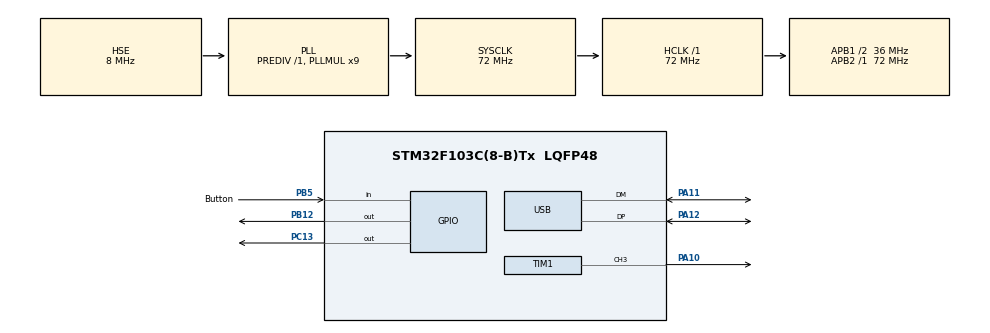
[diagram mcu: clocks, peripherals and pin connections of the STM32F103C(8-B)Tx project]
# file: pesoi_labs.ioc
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Mcu.Family=STM32F1
RCC.PLLSourceVirtual=RCC_PLLSOURCE_HSE
USB_DEVICE.CLASS_NAME_FS=CDC
PD1-OSC_OUT.Mode=HSE-External-Oscillator
USB_DEVICE.VirtualModeFS=Cdc_FS
PC13-TAMPER-RTC.Signal=GPIO_Output
RCC.USBPrescaler=RCC_USBCLKSOURCE_PLL_DIV1_5
PA11.Mode=Device
NVIC.TIM1_UP_IRQn=true\:0\:0\:false\:false\:true\:true\:true
PD0-OSC_IN.Signal=RCC_OSC_IN
RCC.APB1CLKDivider=RCC_HCLK_DIV2
VP_SYS_VS_ND.Mode=No_Debug
RCC.SYSCLKSource=RCC_SYSCLKSOURCE_PLLCLK
ProjectManager.StackSize=0x400
PD1-OSC_OUT.Signal=RCC_OSC_OUT
TIM1.Pulse-PWM\ Generation3\ CH3=1800/2
PA12.Signal=USB_DP
ProjectManager.TargetToolchain=STM32CubeIDE
RCC.HCLKFreq_Value=72000000
VP_USB_DEVICE_VS_USB_DEVICE_CDC_FS.Mode=CDC_FS
RCC.APB2TimFreq_Value=72000000
RCC.USBFreq_Value=48000000
RCC.AHBFreq_Value=72000000
PD0-OSC_IN.Mode=HSE-External-Oscillator
board=custom
RCC.PLLMUL=RCC_PLL_MUL9
RCC.APB2Freq_Value=72000000
NVIC.USB_LP_CAN1_RX0_IRQn=true\:0\:0\:false\:false\:true\:false\:true
Mcu.Name=STM32F103C(8-B)Tx
VP_TIM1_VS_ClockSourceINT.Mode=Internal
RCC.SYSCLKFreq_VALUE=72000000
Mcu.Package=LQFP48
PB5.Signal=GPIO_Input
PA12.Mode=Device
PB5.GPIO_PuPd=GPIO_PULLUP
TIM1.OCFastMode_PWM-PWM\ Generation3\ CH3=TIM_OCFAST_DISABLE
PA11.Signal=USB_DM
PA10.Signal=S_TIM1_CH3
ProjectManager.HeapSize=0x200
SH.S_TIM1_CH3.0=TIM1_CH3,PWM Generation3 CH3
NVIC.PriorityGroup=NVIC_PRIORITYGROUP_4
PB5.GPIO_Label=Button
RCC.APB1TimFreq_Value=72000000
TIM1.Period=1799
TIM1.Channel-PWM\ Generation3\ CH3=TIM_CHANNEL_3
RCC.APB1Freq_Value=36000000
USB_DEVICE.VirtualMode=Cdc
PB12.Signal=GPIO_Output

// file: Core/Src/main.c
/* USER CODE BEGIN Header */
/**
  ******************************************************************************
  * @file           : main.c
  * @brief          : Main program body
  ******************************************************************************
  * @attention
  *
  * <h2><center>&copy; Copyright (c) 2021 STMicroelectronics.
  * All rights reserved.</center></h2>
  *
  * This software component is licensed by ST under BSD 3-Clause license,
  * the "License"; You may not use this file except in compliance with the
  * License. You may obtain a copy of the License at:
  *                        opensource.org/licenses/BSD-3-Clause
  *
  ******************************************************************************
  */
/* USER CODE END Header */
#include "main.h"
#include "usb_device.h"

/* USER CODE BEGIN Includes */
#include "my.h"
#include <math.h>
//#include "usbd_cdc_if.h"
/* USER CODE END Includes */

TIM_HandleTypeDef htim1;

void SystemClock_Config(void);
static void MX_GPIO_Init(void);
static void MX_TIM1_Init(void);

/* USER CODE BEGIN 0 */
const int16_t sine_ampl=(1U<<(sizeof(sine_ampl)*8-1))-1;
const uint16_t arr_size=1024;
int16_t f_dots[1024];
/// It is the array of pins that make tones. The first pin is A10 and the second is A9
Tone_pin* tone_pins;
volatile bool playing=true;
volatile bool locked=false;
/* USER CODE END 0 */

int main(void)
{

  /* MCU Configuration--------------------------------------------------------*/

  /* Reset of all peripherals, Initializes the Flash interface and the Systick. */
  HAL_Init();

  /* Configure the system clock */
  SystemClock_Config();

  /* Initialize all configured peripherals */
  MX_GPIO_Init();
  MX_TIM1_Init();
  MX_USB_DEVICE_Init();
  /* USER CODE BEGIN 2 */
  HAL_GPIO_WritePin(GPIOC, GPIO_PIN_13, GPIO_PIN_SET);
  HAL_Delay(100);
  HAL_GPIO_WritePin(GPIOC, GPIO_PIN_13, GPIO_PIN_RESET);
  HAL_Delay(300);
  HAL_GPIO_WritePin(GPIOC, GPIO_PIN_13, GPIO_PIN_SET);

    for(int i=0; i< arr_size; ++i)
    {
        f_dots[i]=sine_ampl/2.0 - sine_ampl/2.0 * sin(i* 2*M_PI/arr_size);
    }

    /// This lines is ctor for tone_pins
    Tone_pin tone_pins_init[2]={{&(htim1.Instance->CCR3), f_dots, arr_size, sine_ampl, (arr_size*500<<8)/TONE_FREQ,0}, {&(htim1.Instance->CCR2),NULL, 0, 0, 0, 0}};
    tone_pins=tone_pins_init;

    HAL_TIM_PWM_Start(&htim1,TIM_CHANNEL_3);///start sound
    HAL_TIM_Base_Start_IT(&htim1);

  uint16_t notes_1[]={NOTE_C4, NOTE_G3, NOTE_G3, NOTE_A3, NOTE_G3, 0, NOTE_B3, NOTE_C4};
  uint16_t notes_2[]={NOTE_B3, NOTE_B3, NOTE_B3, NOTE_G3, NOTE_D4, NOTE_B3, NOTE_G3, NOTE_D4, NOTE_B3, NOTE_FS4, NOTE_FS4, NOTE_FS4,
                      NOTE_G4, NOTE_D4, NOTE_AS3, NOTE_G3, NOTE_D4, NOTE_B3};
  uint8_t durations_1[]={4, 8, 8, 4, 4, 4, 4, 4};
  uint8_t durations_2[]={4, 4, 4, 4, 16, 4, 4, 16, 4,2, 2, 2, 2,  4, 2,   2,   4, 2};
  /* USER CODE END 2 */

  /* Infinite loop */
  /* USER CODE BEGIN WHILE */
  while (1)
  {
      if(playing)
        play(&tone_pins_init[0], notes_1, durations_1, sizeof(durations_1)/sizeof(durations_1[0]));
      else
          HAL_Delay(1000);
      if(HAL_GPIO_ReadPin(GPIOB, GPIO_PIN_5)==GPIO_PIN_RESET)///Pull-up B5
       {
          HAL_Delay(150);
          if (HAL_GPIO_ReadPin(GPIOB, GPIO_PIN_5)==GPIO_PIN_RESET && !locked)
              playing = !playing;
       }
    /* USER CODE END WHILE */

  }
}

void SystemClock_Config(void)
{
  RCC_OscInitTypeDef RCC_OscInitStruct = {0};
  RCC_ClkInitTypeDef RCC_ClkInitStruct = {0};
  RCC_PeriphCLKInitTypeDef PeriphClkInit = {0};

  /** Initializes the RCC Oscillators according to the specified parameters
  * in the RCC_OscInitTypeDef structure.
  */
  RCC_OscInitStruct.OscillatorType = RCC_OSCILLATORTYPE_HSE;
  RCC_OscInitStruct.HSEState = RCC_HSE_ON;
  RCC_OscInitStruct.HSEPredivValue = RCC_HSE_PREDIV_DIV1;
  RCC_OscInitStruct.HSIState = RCC_HSI_ON;
  RCC_OscInitStruct.PLL.PLLState = RCC_PLL_ON;
  RCC_OscInitStruct.PLL.PLLSource = RCC_PLLSOURCE_HSE;
  RCC_OscInitStruct.PLL.PLLMUL = RCC_PLL_MUL9;
  if (HAL_RCC_OscConfig(&RCC_OscInitStruct) != HAL_OK)
  {
    Error_Handler();
  }
  /** Initializes the CPU, AHB and APB buses clocks
  */
  RCC_ClkInitStruct.ClockType = RCC_CLOCKTYPE_HCLK|RCC_CLOCKTYPE_SYSCLK
                              |RCC_CLOCKTYPE_PCLK1|RCC_CLOCKTYPE_PCLK2;
  RCC_ClkInitStruct.SYSCLKSource = RCC_SYSCLKSOURCE_PLLCLK;
  RCC_ClkInitStruct.AHBCLKDivider = RCC_SYSCLK_DIV1;
  RCC_ClkInitStruct.APB1CLKDivider = RCC_HCLK_DIV2;
  RCC_ClkInitStruct.APB2CLKDivider = RCC_HCLK_DIV1;

  if (HAL_RCC_ClockConfig(&RCC_ClkInitStruct, FLASH_LATENCY_2) != HAL_OK)
  {
    Error_Handler();
  }
  PeriphClkInit.PeriphClockSelection = RCC_PERIPHCLK_USB;
  PeriphClkInit.UsbClockSelection = RCC_USBCLKSOURCE_PLL_DIV1_5;
  if (HAL_RCCEx_PeriphCLKConfig(&PeriphClkInit) != HAL_OK)
  {
    Error_Handler();
  }
}

static void MX_TIM1_Init(void)
{

  TIM_ClockConfigTypeDef sClockSourceConfig = {0};
  TIM_MasterConfigTypeDef sMasterConfig = {0};
  TIM_OC_InitTypeDef sConfigOC = {0};
  TIM_BreakDeadTimeConfigTypeDef sBreakDeadTimeConfig = {0};

  htim1.Instance = TIM1;
  htim1.Init.Prescaler = 0;
  htim1.Init.CounterMode = TIM_COUNTERMODE_UP;
  htim1.Init.Period = 1799;
  htim1.Init.ClockDivision = TIM_CLOCKDIVISION_DIV1;
  htim1.Init.RepetitionCounter = 0;
  htim1.Init.AutoReloadPreload = TIM_AUTORELOAD_PRELOAD_DISABLE;
  if (HAL_TIM_Base_Init(&htim1) != HAL_OK)
  {
    Error_Handler();
  }
  sClockSourceConfig.ClockSource = TIM_CLOCKSOURCE_INTERNAL;
  if (HAL_TIM_ConfigClockSource(&htim1, &sClockSourceConfig) != HAL_OK)
  {
    Error_Handler();
  }
  if (HAL_TIM_PWM_Init(&htim1) != HAL_OK)
  {
    Error_Handler();
  }
  sMasterConfig.MasterOutputTrigger = TIM_TRGO_RESET;
  sMasterConfig.MasterSlaveMode = TIM_MASTERSLAVEMODE_DISABLE;
  if (HAL_TIMEx_MasterConfigSynchronization(&htim1, &sMasterConfig) != HAL_OK)
  {
    Error_Handler();
  }
  sConfigOC.OCMode = TIM_OCMODE_PWM1;
  sConfigOC.Pulse = 1800/2;
  sConfigOC.OCPolarity = TIM_OCPOLARITY_HIGH;
  sConfigOC.OCNPolarity = TIM_OCNPOLARITY_HIGH;
  sConfigOC.OCFastMode = TIM_OCFAST_DISABLE;
  sConfigOC.OCIdleState = TIM_OCIDLESTATE_RESET;
  sConfigOC.OCNIdleState = TIM_OCNIDLESTATE_RESET;
  if (HAL_TIM_PWM_ConfigChannel(&htim1, &sConfigOC, TIM_CHANNEL_3) != HAL_OK)
  {
    Error_Handler();
  }
  sBreakDeadTimeConfig.OffStateRunMode = TIM_OSSR_DISABLE;
  sBreakDeadTimeConfig.OffStateIDLEMode = TIM_OSSI_DISABLE;
  sBreakDeadTimeConfig.LockLevel = TIM_LOCKLEVEL_OFF;
  sBreakDeadTimeConfig.DeadTime = 0;
  sBreakDeadTimeConfig.BreakState = TIM_BREAK_DISABLE;
  sBreakDeadTimeConfig.BreakPolarity = TIM_BREAKPOLARITY_HIGH;
  sBreakDeadTimeConfig.AutomaticOutput = TIM_AUTOMATICOUTPUT_DISABLE;
  if (HAL_TIMEx_ConfigBreakDeadTime(&htim1, &sBreakDeadTimeConfig) != HAL_OK)
  {
    Error_Handler();
  }
  HAL_TIM_MspPostInit(&htim1);

}

static void MX_GPIO_Init(void)
{
  GPIO_InitTypeDef GPIO_InitStruct = {0};

  /* GPIO Ports Clock Enable */
  __HAL_RCC_GPIOC_CLK_ENABLE();
  __HAL_RCC_GPIOD_CLK_ENABLE();
  __HAL_RCC_GPIOB_CLK_ENABLE();
  __HAL_RCC_GPIOA_CLK_ENABLE();

  /*Configure GPIO pin Output Level */
  HAL_GPIO_WritePin(GPIOC, GPIO_PIN_13, GPIO_PIN_RESET);

  /*Configure GPIO pin Output Level */
  HAL_GPIO_WritePin(GPIOB, GPIO_PIN_12, GPIO_PIN_RESET);

  /*Configure GPIO pin : PC13 */
  GPIO_InitStruct.Pin = GPIO_PIN_13;
  GPIO_InitStruct.Mode = GPIO_MODE_OUTPUT_PP;
  GPIO_InitStruct.Pull = GPIO_NOPULL;
  GPIO_InitStruct.Speed = GPIO_SPEED_FREQ_LOW;
  HAL_GPIO_Init(GPIOC, &GPIO_InitStruct);

  /*Configure GPIO pin : PB12 */
  GPIO_InitStruct.Pin = GPIO_PIN_12;
  GPIO_InitStruct.Mode = GPIO_MODE_OUTPUT_PP;
  GPIO_InitStruct.Pull = GPIO_NOPULL;
  GPIO_InitStruct.Speed = GPIO_SPEED_FREQ_LOW;
  HAL_GPIO_Init(GPIOB, &GPIO_InitStruct);

  /*Configure GPIO pin : Button_Pin */
  GPIO_InitStruct.Pin = Button_Pin;
  GPIO_InitStruct.Mode = GPIO_MODE_INPUT;
  GPIO_InitStruct.Pull = GPIO_PULLUP;
  HAL_GPIO_Init(Button_GPIO_Port, &GPIO_InitStruct);

}

void Error_Handler(void)
{
}

/************************ (C) COPYRIGHT STMicroelectronics *****END OF FILE****/
